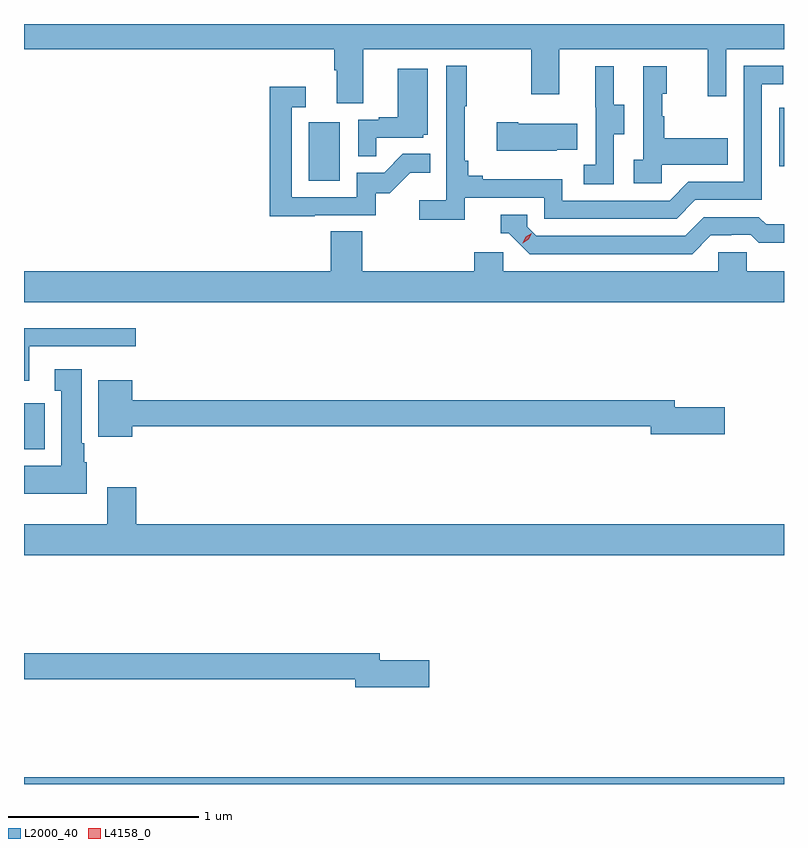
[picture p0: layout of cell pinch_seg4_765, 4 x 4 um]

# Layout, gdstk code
import gdstk
lib = gdstk.Library(unit=1e-6, precision=1e-09)
def R(c, l, rs):  # rectangles x0, y0, x1, y1
    for r in rs: c.add(gdstk.rectangle(r[:2], r[2:], *l))
def P(c, l, *ps):  # polygons
    for p in ps: c.add(gdstk.Polygon(p, *l))
L2000_40 = (2000, 40)
L4158_0 = (4158, 0)

pinch_seg4_765 = lib.new_cell('pinch_seg4_765')
R(pinch_seg4_765, L2000_40, [(816.502,820.924,820.502,820.96), (816.502,822.686,816.61,822.928), (818,824.1,818.164,824.407), (820.476,824.175,820.502,824.484)])
P(pinch_seg4_765, L2000_40, [(818.287,824.792),(819.172,824.792),(819.172,824.553),(819.319,824.553),(819.319,824.792),(820.1,824.792),(820.1,824.544),(820.197,824.544),(820.197,824.792),(820.502,824.792),(820.502,824.924),(816.502,824.924),(816.502,824.792),(818.135,824.792),(818.135,824.68),(818.147,824.68),(818.147,824.506),(818.287,824.506)],
  [(818.822,824.01),(819.24,824.01),(819.24,823.899),(819.937,823.899),(820.036,823.998),(820.386,823.998),(820.386,824.607),(820.499,824.607),(820.499,824.703),(820.29,824.703),(820.29,824.094),(819.999,824.094),(819.9,823.995),(819.336,823.995),(819.336,824.107),(818.917,824.107),(818.917,824.126),(818.84,824.126),(818.84,824.203),(818.821,824.203),(818.821,824.491),(818.833,824.491),(818.833,824.704),(818.724,824.704),(818.724,823.996),(818.583,823.996),(818.583,823.894),(818.822,823.894)],
  [(819.606,824.344),(819.661,824.344),(819.661,824.499),(819.607,824.499),(819.607,824.701),(819.509,824.701),(819.509,824.487),(819.51,824.487),(819.51,824.183),(819.447,824.183),(819.447,824.08),(819.606,824.08)],
  [(819.858,824.183),(820.205,824.183),(820.205,824.323),(819.871,824.323),(819.871,824.438),(819.861,824.438),(819.861,824.556),(819.886,824.556),(819.886,824.701),(819.762,824.701),(819.762,824.21),(819.711,824.21),(819.711,824.085),(819.858,824.085)],
  [(818.357,824.325),(818.604,824.325),(818.604,824.34),(818.626,824.34),(818.626,824.689),(818.468,824.689),(818.468,824.434),(818.369,824.434),(818.369,824.421),(818.262,824.421),(818.262,824.227),(818.357,824.227)],
  [(818.033,823.917),(818.352,823.917),(818.352,824.034),(818.428,824.034),(818.535,824.141),(818.639,824.141),(818.639,824.24),(818.495,824.24),(818.397,824.142),(818.253,824.142),(818.253,824.013),(817.911,824.013),(817.911,824.487),(817.984,824.487),(817.984,824.593),(817.795,824.593),(817.795,823.912),(818.033,823.912)],
  [(819.305,824.261),(819.413,824.261),(819.413,824.398),(819.103,824.398),(819.103,824.406),(818.991,824.406),(818.991,824.258),(819.305,824.258)],
  [(820.117,823.812),(820.224,823.812),(820.224,823.815),(820.327,823.815),(820.369,823.773),(820.502,823.773),(820.502,823.869),(820.408,823.869),(820.369,823.908),(820.08,823.908),(819.981,823.809),(819.198,823.809),(819.15,823.857),(819.15,823.92),(819.011,823.92),(819.011,823.824),(819.054,823.824),(819.165,823.713),(820.018,823.713)],
  [(820.502,823.624),(820.305,823.624),(820.305,823.722),(820.155,823.722),(820.155,823.624),(819.024,823.624),(819.024,823.722),(818.873,823.722),(818.873,823.624),(818.282,823.624),(818.282,823.832),(818.117,823.832),(818.117,823.624),(816.502,823.624),(816.502,823.46),(820.502,823.46)],
  [(816.529,823.227),(817.09,823.227),(817.09,823.324),(816.502,823.324),(816.502,823.046),(816.529,823.046)],
  [(816.832,822.618),(816.82,822.618),(816.82,822.718),(816.805,822.718),(816.805,823.108),(816.665,823.108),(816.665,822.995),(816.698,822.995),(816.698,822.598),(816.502,822.598),(816.502,822.452),(816.832,822.452)],
  [(817.072,822.808),(819.8,822.808),(819.8,822.766),(820.189,822.766),(820.189,822.908),(819.928,822.908),(819.928,822.944),(817.072,822.944),(817.072,823.048),(816.893,823.048),(816.893,822.752),(817.072,822.752)],
  [(820.502,822.292),(817.094,822.292),(817.094,822.487),(816.941,822.487),(816.941,822.292),(816.502,822.292),(816.502,822.128),(820.502,822.128)],
  [(818.635,821.576),(818.374,821.576),(818.374,821.612),(816.502,821.612),(816.502,821.476),(818.246,821.476),(818.246,821.434),(818.635,821.434)])
P(pinch_seg4_765, L4158_0, [(819.128,823.77),(819.128,823.77),(819.144,823.803),(819.174,823.823),(819.175,823.823),(819.175,823.822),(819.159,823.79),(819.128,823.77)])

lib.write_gds('pinch_seg4_765.gds')
